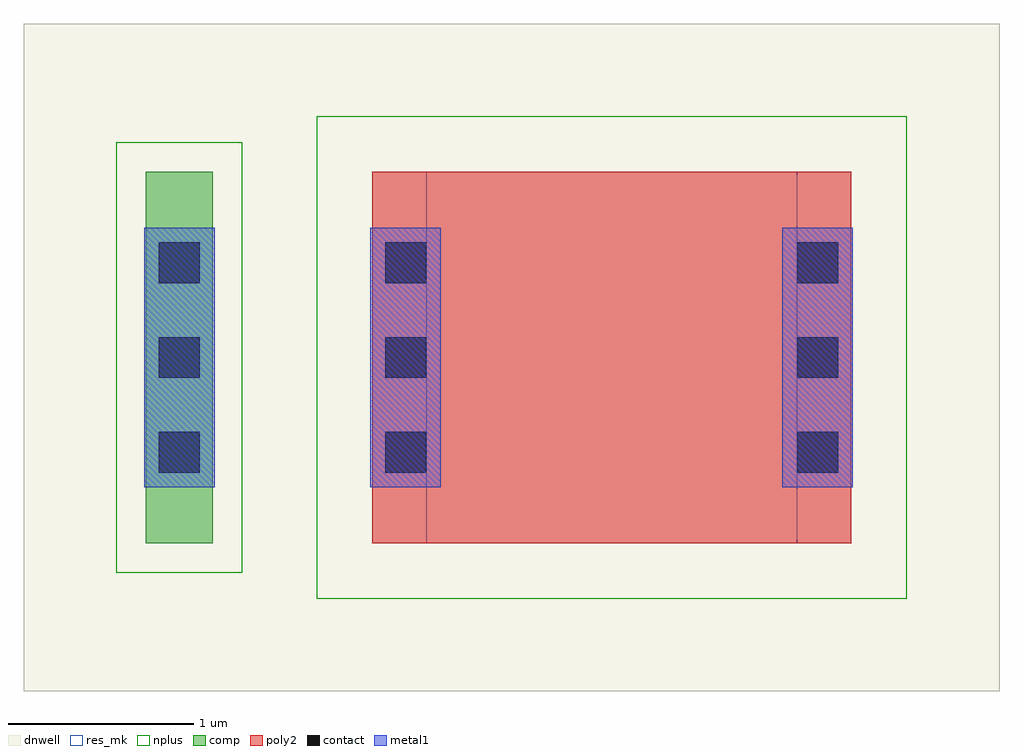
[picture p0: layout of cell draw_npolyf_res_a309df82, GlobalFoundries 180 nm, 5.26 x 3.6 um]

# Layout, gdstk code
import gdstk
lib = gdstk.Library(unit=1e-6, precision=1e-09)
def R(c, l, rs):  # rectangles x0, y0, x1, y1
    for r in rs: c.add(gdstk.rectangle(r[:2], r[2:], *l))
def A(c, l, x, y, w, h, nx, ny, dx, dy):  # array of equal rectangles
    R(c, l, [(x+i*dx, y+j*dy, x+i*dx+w, y+j*dy+h) for i in range(nx) for j in range(ny)])
dnwell = (12, 0)
comp = (22, 0)
poly2 = (30, 0)
nplus = (32, 0)
contact = (33, 0)
metal1 = (34, 0)
res_mk = (110, 5)

draw_npolyf_res_a309df82 = lib.new_cell('draw_npolyf_res_a309df82')
R(draw_npolyf_res_a309df82, dnwell, [(-2.17,-0.8,3.09,2.8)])
R(draw_npolyf_res_a309df82, comp, [(-1.51,0,-1.15,2)])
R(draw_npolyf_res_a309df82, poly2, [(-0.29,0,2.29,2)])
R(draw_npolyf_res_a309df82, nplus, [(-0.59,-0.3,2.59,2.3), (-1.67,-0.16,-0.99,2.16)])
A(draw_npolyf_res_a309df82, contact, -1.44, 0.38, 0.22, 0.22, 1, 3, 0, 0.51)
A(draw_npolyf_res_a309df82, contact, -0.22, 0.38, 0.22, 0.22, 1, 3, 0, 0.51)
A(draw_npolyf_res_a309df82, contact, 2, 0.38, 0.22, 0.22, 1, 3, 0, 0.51)
R(draw_npolyf_res_a309df82, metal1, [(-1.52,0.3,-1.14,1.7), (-0.3,0.3,0.08,1.7), (1.92,0.3,2.3,1.7)])
R(draw_npolyf_res_a309df82, res_mk, [(0,0,2,2)])

lib.write_gds('draw_npolyf_res_a309df82.gds')
